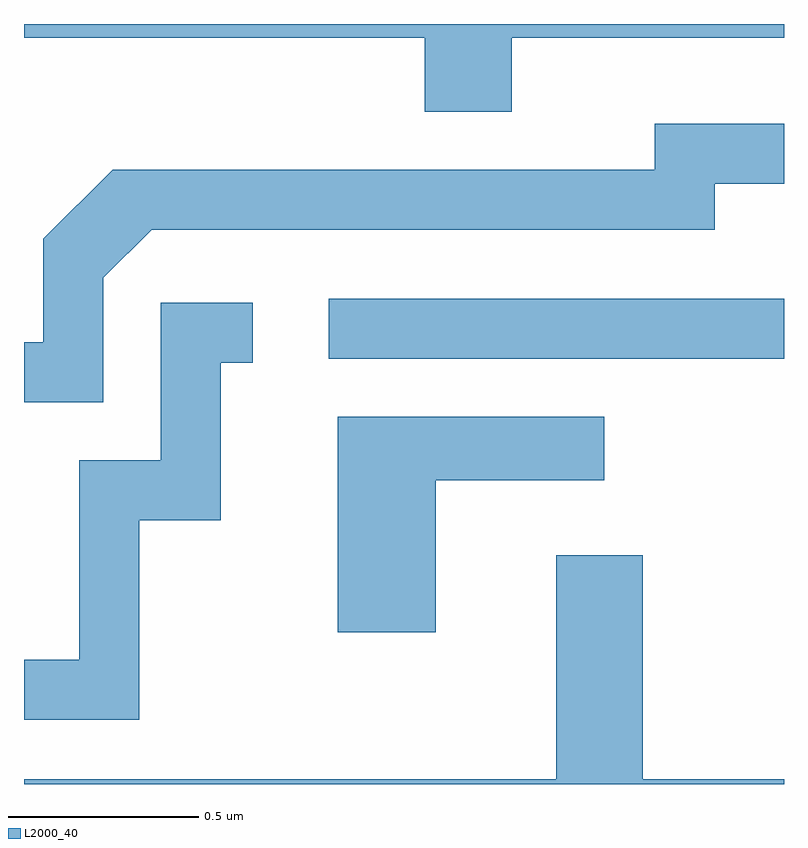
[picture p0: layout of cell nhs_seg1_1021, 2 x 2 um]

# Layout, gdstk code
import gdstk
lib = gdstk.Library(unit=1e-6, precision=1e-09)
def R(c, l, rs):  # rectangles x0, y0, x1, y1
    for r in rs: c.add(gdstk.rectangle(r[:2], r[2:], *l))
def P(c, l, *ps):  # polygons
    for p in ps: c.add(gdstk.Polygon(p, *l))
L2000_40 = (2000, 40)

nhs_seg1_1021 = lib.new_cell('nhs_seg1_1021')
R(nhs_seg1_1021, L2000_40, [(193.413,909.831,194.611,909.989)])
P(nhs_seg1_1021, L2000_40, [(193.894,910.676),(194.611,910.676),(194.611,910.712),(192.611,910.712),(192.611,910.676),(193.666,910.676),(193.666,910.481),(193.894,910.481)],
  [(192.819,910.044),(192.947,910.171),(194.429,910.171),(194.429,910.291),(194.611,910.291),(194.611,910.449),(194.271,910.449),(194.271,910.329),(192.844,910.329),(192.661,910.147),(192.661,909.874),(192.611,909.874),(192.611,909.716),(192.819,909.716)],
  [(192.914,909.406),(193.129,909.406),(193.129,909.821),(193.213,909.821),(193.213,909.979),(192.971,909.979),(192.971,909.564),(192.756,909.564),(192.756,909.039),(192.611,909.039),(192.611,908.881),(192.914,908.881)],
  [(193.694,909.511),(194.138,909.511),(194.138,909.679),(193.436,909.679),(193.436,909.111),(193.694,909.111)],
  [(194.611,908.724),(194.239,908.724),(194.239,909.314),(194.011,909.314),(194.011,908.724),(192.611,908.724),(192.611,908.712),(194.611,908.712)])

lib.write_gds('nhs_seg1_1021.gds')
